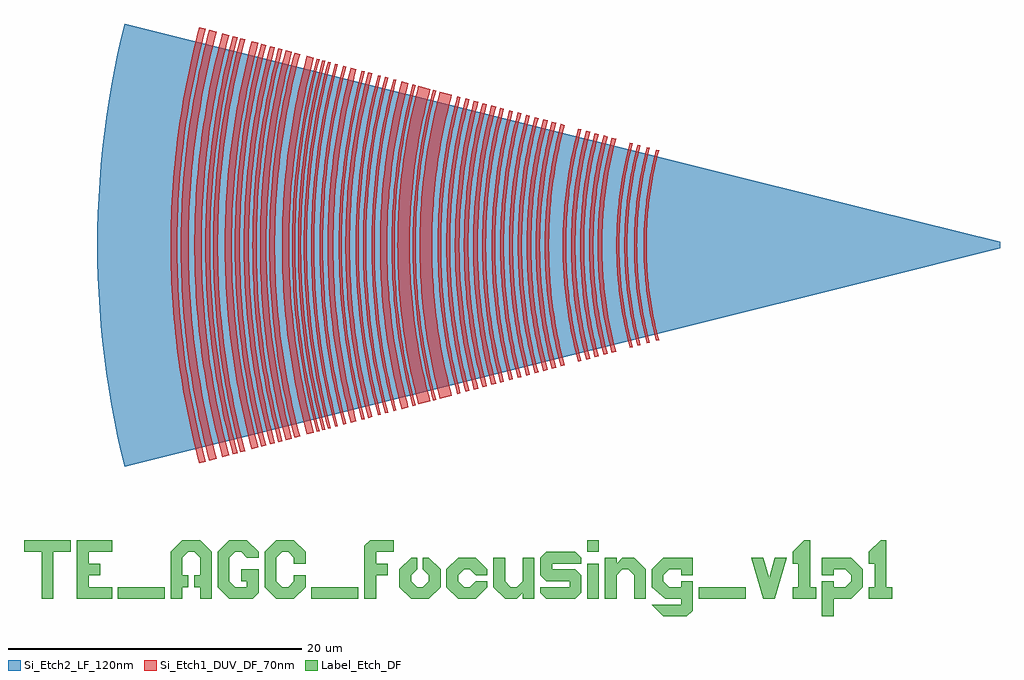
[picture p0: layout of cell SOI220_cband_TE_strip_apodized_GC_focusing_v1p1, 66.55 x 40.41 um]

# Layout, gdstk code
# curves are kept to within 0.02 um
import gdstk
lib = gdstk.Library(unit=1e-6, precision=1e-09)
def R(c, l, rs):  # rectangles x0, y0, x1, y1
    for r in rs: c.add(gdstk.rectangle(r[:2], r[2:], *l))
def P(c, l, *ps):  # polygons
    for p in ps: c.add(gdstk.Polygon(p, *l))
Si_Etch2_LF_120nm = (3, 0)
Si_Etch1_DUV_DF_70nm = (6, 0)
Label_Etch_DF = (100, 0)

text_gdsfactorypcomponen = lib.new_cell('text_gdsfactorypcomponentsptextsptext_TTE_AGC_focusing__27f75d3e')
R(text_gdsfactorypcomponen, Label_Etch_DF, [(6.8,0,10,0.8), (20,0,23.2,0.8), (38.8,0,39.6,2.4), (46.4,0,49.6,0.8), (38.8,3.2,39.6,4)])
P(text_gdsfactorypcomponen, Label_Etch_DF, [(26.8,0),(26,0.8),(26,2),(26.8,2.8),(27.2,2.8),(27.2,2),(26.8,1.6),(26.8,1.2),(27.2,0.8),(27.6,0.8),(28,1.2),(28,1.6),(27.6,2),(27.6,2.8),(28,2.8),(28.8,2),(28.8,0.8),(28,0)],
  [(30,0),(29.2,0.8),(29.2,2),(30,2.8),(31.2,2.8),(32,2),(32,1.6),(31.2,1.6),(30.8,2),(30.4,2),(30,1.6),(30,1.2),(30.4,0.8),(30.8,0.8),(31.2,1.2),(32,1.2),(32,0.8),(31.2,0)],
  [(33.2,0),(32.4,0.8),(32.4,2.8),(33.2,2.8),(33.2,1.2),(33.6,0.8),(34,0.8),(34.4,1.2),(34.4,2.8),(35.2,2.8),(35.2,0),(34.4,0),(34.4,0.4),(34,0)],
  [(40,0),(40,2.8),(40.8,2.8),(40.8,2.4),(41.2,2.8),(42,2.8),(42.8,2),(42.8,0),(42,0),(42,1.6),(41.6,2),(41.2,2),(40.8,1.6),(40.8,0)],
  [(44,-1.2),(43.2,-0.4),(45.2,-0.4),(45.2,0),(44.136,0),(43.2,0.8),(43.2,2),(44,2.8),(46,2.8),(46,1.6),(45.2,1.6),(45.2,2),(44.4,2),(44,1.6),(44,1.2),(44.4,0.8),(45.2,0.8),(45.2,1.2),(46,1.2),(46,-0.8),(45.6,-1.2)],
  [(50.8,0),(50,2.8),(50.8,2.8),(51.2,1.4),(51.6,2.8),(52.4,2.8),(51.6,0)],
  [(54.8,-1.2),(54.8,1.2),(55.6,1.2),(55.6,0.8),(56.4,0.8),(56.8,1.2),(56.8,1.6),(56.4,2),(55.6,2),(55.6,1.6),(54.8,1.6),(54.8,2.8),(56.8,2.8),(57.6,2),(57.6,0.8),(56.8,0),(55.6,0),(55.6,-1.2)],
  [(36,0),(35.6,0.4),(35.6,0.8),(37.6,0.8),(37.6,1.2),(36,1.2),(35.6,1.6),(35.6,2.8),(36,3.2),(38,3.2),(38.4,2.8),(38.4,2.4),(36.4,2.4),(36.4,2),(38,2),(38.4,1.6),(38.4,0.4),(38,0)],
  [(1.6,0),(1.6,3.2),(0.4,3.2),(0.4,4),(3.6,4),(3.6,3.2),(2.4,3.2),(2.4,0)],
  [(4,0),(4,4),(6.4,4),(6.4,3.2),(4.8,3.2),(4.8,2.4),(5.6,2.4),(5.6,1.6),(4.8,1.6),(4.8,0.8),(6.4,0.8),(6.4,0)],
  [(10.396,0),(10.4,3.2),(11.2,4),(12.404,4),(13.2,3.2),(13.2,0),(12.404,0),(12.404,0.8),(12,0.8),(12,1.6),(12.404,1.6),(12.404,2.8),(12,3.2),(11.6,3.2),(11.2,2.8),(11.2,1.6),(11.6,1.6),(11.6,0.8),(11.2,0.8),(11.2,0)],
  [(14.4,0),(13.6,0.8),(13.6,3.2),(14.4,4),(15.6,4),(16.4,3.2),(16.4,2.8),(15.6,2.8),(15.2,3.2),(14.8,3.2),(14.4,2.8),(14.4,1.2),(14.8,0.8),(15.6,0.8),(15.6,1.2),(15.2,1.2),(15.2,2),(16.4,2),(16.4,0.4),(16,0)],
  [(17.6,0),(16.8,0.8),(16.8,3.2),(17.6,4),(18.8,4),(19.6,3.2),(19.6,2.4),(18.8,2.4),(18.8,2.8),(18.4,3.2),(18,3.2),(17.6,2.8),(17.6,1.2),(18,0.8),(18.4,0.8),(18.8,1.2),(18.8,1.6),(19.6,1.6),(19.6,0.8),(18.8,0)],
  [(23.6,0),(23.6,3.6),(24,4),(25.6,4),(25.6,3.2),(24.4,3.2),(24.4,2.4),(25.2,2.4),(25.2,1.6),(24.4,1.6),(24.4,0)],
  [(52.8,0),(52.8,0.8),(53.2,0.8),(53.2,2.4),(52.8,2.4),(52.8,3.2),(53.6,4),(54,4),(54,0.8),(54.4,0.8),(54.4,0)],
  [(58,0),(58,0.8),(58.4,0.8),(58.4,2.4),(58,2.4),(58,3.2),(58.8,4),(59.2,4),(59.2,0.8),(59.6,0.8),(59.6,0)])

soi220_cband_te_strip_ap = lib.new_cell('SOI220_cband_TE_strip_apodized_GC_focusing_v1p1')
P(soi220_cband_te_strip_ap, Si_Etch2_LF_120nm, [(-59.69,-15.107),(-60.398,-11.915),(-60.776,-9.769),(-61.08,-7.61),(-61.393,-4.356),(-61.507,-2.179),(-61.545,0),(-61.507,2.179),(-61.393,4.356),(-61.08,7.61),(-60.776,9.769),(-60.398,11.915),(-59.69,15.107),(0,0.225),(0,-0.225)])
P(soi220_cband_te_strip_ap, Si_Etch1_DUV_DF_70nm, [(-23.439,-6.522),(-23.835,-4.808),(-24.111,-3.071),(-24.251,-1.538),(-24.298,0),(-24.251,1.538),(-24.111,3.071),(-23.835,4.808),(-23.439,6.522),(-23.246,6.47),(-23.639,4.77),(-23.884,3.263),(-24.037,1.744),(-24.098,0),(-24.037,-1.744),(-23.884,-3.263),(-23.639,-4.77),(-23.246,-6.47)],
  [(-24.069,-6.69),(-24.475,-4.933),(-24.729,-3.374),(-24.888,-1.803),(-24.95,0),(-24.888,1.803),(-24.729,3.374),(-24.475,4.933),(-24.069,6.69),(-23.876,6.639),(-24.279,4.895),(-24.531,3.348),(-24.688,1.789),(-24.75,0),(-24.688,-1.789),(-24.531,-3.348),(-24.279,-4.895),(-23.876,-6.639)],
  [(-24.706,-6.86),(-25.076,-5.285),(-25.381,-3.46),(-25.544,-1.849),(-25.608,0),(-25.544,1.849),(-25.381,3.46),(-25.076,5.285),(-24.706,6.86),(-24.512,6.81),(-24.925,5.02),(-25.183,3.434),(-25.344,1.835),(-25.408,0),(-25.344,-1.835),(-25.183,-3.434),(-24.925,-5.02),(-24.512,-6.81)],
  [(-25.234,-7.002),(-25.659,-5.163),(-25.955,-3.297),(-26.106,-1.652),(-26.156,0),(-26.106,1.652),(-25.955,3.297),(-25.659,5.163),(-25.234,7.002),(-25.041,6.951),(-25.463,5.125),(-25.726,3.506),(-25.891,1.874),(-25.956,0),(-25.891,-1.874),(-25.726,-3.506),(-25.463,-5.125),(-25.041,-6.951)],
  [(-26.467,-7.332),(-26.863,-5.649),(-27.189,-3.699),(-27.363,-1.976),(-27.432,0),(-27.363,1.976),(-27.189,3.699),(-26.863,5.649),(-26.467,7.332),(-26.173,7.255),(-26.613,5.348),(-26.888,3.659),(-27.06,1.955),(-27.128,0),(-27.06,-1.955),(-26.888,-3.659),(-26.613,-5.348),(-26.173,-7.255)],
  [(-27.027,-7.481),(-27.48,-5.517),(-27.796,-3.524),(-27.957,-1.766),(-28.011,0),(-27.957,1.766),(-27.796,3.524),(-27.48,5.517),(-27.027,7.481),(-26.749,7.409),(-27.198,5.462),(-27.479,3.736),(-27.671,1.748),(-27.724,0),(-27.671,-1.748),(-27.479,-3.736),(-27.198,-5.462),(-26.749,-7.409)],
  [(-27.616,-7.64),(-28.03,-5.886),(-28.37,-3.854),(-28.567,-1.802),(-28.622,0),(-28.567,1.802),(-28.37,3.854),(-28.03,5.886),(-27.616,7.64),(-27.362,7.573),(-27.772,5.834),(-28.109,3.819),(-28.288,2.041),(-28.359,0),(-28.288,-2.041),(-28.109,-3.819),(-27.772,-5.834),(-27.362,-7.573)],
  [(-28.216,-7.801),(-28.689,-5.751),(-28.985,-3.935),(-29.168,-2.102),(-29.242,0),(-29.168,2.102),(-28.985,3.935),(-28.689,5.751),(-28.216,7.801),(-27.934,7.727),(-28.403,5.696),(-28.696,3.897),(-28.878,2.082),(-28.951,0),(-28.878,-2.082),(-28.696,-3.897),(-28.403,-5.696),(-27.934,-7.727)],
  [(-28.771,-7.95),(-29.254,-5.862),(-29.555,-4.01),(-29.761,-1.875),(-29.818,0),(-29.761,1.875),(-29.555,4.01),(-29.254,5.862),(-28.771,7.95),(-28.541,7.889),(-29.02,5.816),(-29.319,3.979),(-29.506,2.126),(-29.58,0),(-29.506,-2.126),(-29.319,-3.979),(-29.02,-5.816),(-28.541,-7.889)],
  [(-29.947,-8.265),(-30.217,-7.185),(-30.448,-6.094),(-30.762,-4.169),(-30.957,-2.228),(-31.016,-1.115),(-31.035,0),(-31.016,1.115),(-30.957,2.228),(-30.762,4.169),(-30.448,6.094),(-30.217,7.185),(-29.947,8.265),(-29.675,8.193),(-29.943,7.121),(-30.172,6.04),(-30.483,4.132),(-30.677,2.208),(-30.754,0),(-30.677,-2.208),(-30.483,-4.132),(-30.172,-6.04),(-29.943,-7.121),(-29.675,-8.193)],
  [(-30.546,-8.424),(-31.056,-6.212),(-31.376,-4.249),(-31.593,-1.988),(-31.654,0),(-31.593,1.988),(-31.376,4.249),(-31.056,6.212),(-30.546,8.424),(-30.266,8.351),(-30.772,6.157),(-31.089,4.212),(-31.305,1.97),(-31.365,0),(-31.305,-1.97),(-31.089,-4.212),(-30.772,-6.157),(-30.266,-8.351)],
  [(-31.137,-8.583),(-31.601,-6.613),(-31.812,-5.474),(-31.983,-4.329),(-32.115,-3.179),(-32.205,-2.025),(-32.267,0),(-32.205,2.025),(-32.115,3.179),(-31.983,4.329),(-31.812,5.474),(-31.601,6.613),(-31.137,8.583),(-30.84,8.505),(-31.3,6.552),(-31.679,4.289),(-31.809,3.15),(-31.899,2.006),(-31.96,0),(-31.899,-2.006),(-31.809,-3.15),(-31.679,-4.289),(-31.3,-6.552),(-30.84,-8.505)],
  [(-31.719,-8.74),(-32.192,-6.732),(-32.407,-5.575),(-32.581,-4.408),(-32.715,-3.237),(-32.807,-2.062),(-32.87,0),(-32.807,2.062),(-32.715,3.237),(-32.581,4.408),(-32.407,5.575),(-32.192,6.732),(-31.719,8.74),(-31.459,8.671),(-31.742,7.537),(-31.985,6.393),(-32.314,4.373),(-32.447,3.211),(-32.539,2.045),(-32.601,0),(-32.539,-2.045),(-32.447,-3.211),(-32.314,-4.373),(-31.985,-6.393),(-31.742,-7.537),(-31.459,-8.671)],
  [(-32.295,-8.893),(-32.775,-6.851),(-32.994,-5.672),(-33.171,-4.486),(-33.307,-3.294),(-33.401,-2.098),(-33.465,0),(-33.401,2.098),(-33.307,3.294),(-33.171,4.486),(-32.994,5.672),(-32.775,6.851),(-32.295,8.893),(-32.05,8.829),(-32.527,6.801),(-32.744,5.63),(-32.92,4.453),(-33.129,2.38),(-33.191,1.191),(-33.212,0),(-33.191,-1.191),(-33.129,-2.38),(-32.92,-4.453),(-32.744,-5.63),(-32.527,-6.801),(-32.05,-8.829)],
  [(-32.881,-9.051),(-33.176,-7.868),(-33.43,-6.673),(-33.773,-4.565),(-33.911,-3.352),(-34.007,-2.135),(-34.072,0),(-34.007,2.135),(-33.911,3.352),(-33.773,4.565),(-33.43,6.673),(-33.176,7.868),(-32.881,9.051),(-32.645,8.989),(-33.131,6.924),(-33.352,5.732),(-33.531,4.533),(-33.668,3.329),(-33.763,2.12),(-33.828,0),(-33.763,-2.12),(-33.668,-3.329),(-33.531,-4.533),(-33.352,-5.732),(-33.131,-6.924),(-32.645,-8.989)],
  [(-33.445,-9.203),(-33.746,-7.999),(-34.004,-6.785),(-34.353,-4.641),(-34.493,-3.408),(-34.591,-2.171),(-34.657,0),(-34.591,2.171),(-34.493,3.408),(-34.353,4.641),(-34.004,6.785),(-33.746,7.999),(-33.445,9.203),(-33.216,9.142),(-33.711,7.042),(-33.936,5.83),(-34.118,4.61),(-34.334,2.464),(-34.398,1.233),(-34.42,0),(-34.398,-1.233),(-34.334,-2.464),(-34.118,-4.61),(-33.936,-5.83),(-33.711,-7.042),(-33.216,-9.142)],
  [(-34.07,-9.37),(-34.576,-7.218),(-34.807,-5.975),(-34.993,-4.725),(-35.136,-3.47),(-35.236,-2.211),(-35.303,0),(-35.236,2.211),(-35.136,3.47),(-34.993,4.725),(-34.807,5.975),(-34.576,7.218),(-34.07,9.37),(-33.823,9.305),(-34.326,7.167),(-34.555,5.933),(-34.74,4.692),(-34.882,3.446),(-34.981,2.195),(-35.048,0),(-34.981,-2.195),(-34.882,-3.446),(-34.74,-4.692),(-34.555,-5.933),(-34.326,-7.167),(-33.823,-9.305)],
  [(-34.672,-9.53),(-35.188,-7.342),(-35.421,-6.079),(-35.612,-4.807),(-35.837,-2.57),(-35.905,-1.285),(-35.927,0),(-35.905,1.285),(-35.837,2.57),(-35.612,4.807),(-35.421,6.079),(-35.188,7.342),(-34.672,9.53),(-34.36,9.448),(-34.871,7.278),(-35.103,6.025),(-35.292,4.765),(-35.436,3.499),(-35.536,2.229),(-35.604,0),(-35.536,-2.229),(-35.436,-3.499),(-35.292,-4.765),(-35.103,-6.025),(-34.871,-7.278),(-34.36,-9.448)],
  [(-35.273,-9.692),(-35.797,-7.467),(-36.036,-6.182),(-36.228,-4.888),(-36.458,-2.612),(-36.526,-1.307),(-36.549,0),(-36.526,1.307),(-36.458,2.612),(-36.228,4.888),(-36.036,6.182),(-35.797,7.467),(-35.273,9.692),(-34.982,9.615),(-35.502,7.407),(-35.739,6.132),(-35.93,4.849),(-36.158,2.591),(-36.225,1.297),(-36.248,0),(-36.225,-1.297),(-36.158,-2.591),(-35.93,-4.849),(-35.739,-6.132),(-35.502,-7.407),(-34.982,-9.615)],
  [(-35.864,-9.85),(-36.397,-7.588),(-36.639,-6.283),(-36.835,-4.968),(-36.986,-3.648),(-37.09,-2.324),(-37.161,0),(-37.09,2.324),(-36.986,3.648),(-36.835,4.968),(-36.639,6.283),(-36.397,7.588),(-35.864,9.85),(-35.567,9.772),(-36.096,7.527),(-36.336,6.232),(-36.531,4.928),(-36.68,3.619),(-36.784,2.305),(-36.854,0),(-36.784,-2.305),(-36.68,-3.619),(-36.531,-4.928),(-36.336,-6.232),(-36.096,-7.527),(-35.567,-9.772)],
  [(-36.435,-10.003),(-36.76,-8.695),(-37.041,-7.375),(-37.421,-5.046),(-37.573,-3.704),(-37.679,-2.36),(-37.751,0),(-37.679,2.36),(-37.573,3.704),(-37.421,5.046),(-37.041,7.375),(-36.76,8.695),(-36.435,10.003),(-36.187,9.938),(-36.511,8.637),(-36.79,7.326),(-37.167,5.012),(-37.318,3.68),(-37.423,2.344),(-37.495,0),(-37.423,-2.344),(-37.318,-3.68),(-37.167,-5.012),(-36.79,-7.326),(-36.511,-8.637),(-36.187,-9.938)],
  [(-37.002,-10.155),(-37.332,-8.827),(-37.617,-7.487),(-38.002,-5.121),(-38.157,-3.761),(-38.265,-2.396),(-38.338,0),(-38.265,2.396),(-38.157,3.761),(-38.002,5.121),(-37.617,7.487),(-37.332,8.827),(-37.002,10.155),(-36.784,10.098),(-37.113,8.776),(-37.46,7.11),(-37.684,5.767),(-37.862,4.417),(-38.06,2.042),(-38.113,0),(-38.06,-2.042),(-37.862,-4.417),(-37.684,-5.767),(-37.46,-7.11),(-37.113,-8.776),(-36.784,-10.098)],
  [(-38.19,-10.471),(-38.756,-8.068),(-39.013,-6.68),(-39.222,-5.284),(-39.382,-3.879),(-39.492,-2.472),(-39.568,0),(-39.492,2.472),(-39.382,3.879),(-39.222,5.284),(-39.013,6.68),(-38.756,8.068),(-38.19,10.471),(-37.37,10.255),(-37.925,7.899),(-38.285,5.857),(-38.538,3.798),(-38.696,1.383),(-38.72,0),(-38.696,-1.383),(-38.598,-3.109),(-38.465,-4.485),(-38.285,-5.857),(-38.057,-7.221),(-37.781,-8.576),(-37.37,-10.255)],
  [(-38.646,-10.596),(-39.219,-8.163),(-39.479,-6.758),(-39.69,-5.344),(-39.942,-2.856),(-40.016,-1.429),(-40.041,0),(-40.016,1.429),(-39.942,2.856),(-39.69,5.344),(-39.479,6.758),(-39.219,8.163),(-38.646,10.596),(-38.453,10.545),(-38.797,9.165),(-39.159,7.425),(-39.393,6.022),(-39.579,4.612),(-39.765,2.487),(-39.841,0),(-39.765,-2.487),(-39.579,-4.612),(-39.393,-6.022),(-39.159,-7.425),(-38.797,-9.165),(-38.453,-10.545)],
  [(-39.651,-10.861),(-40.004,-9.444),(-40.309,-8.01),(-40.721,-5.479),(-40.978,-2.928),(-41.054,-1.465),(-41.08,0),(-41.054,1.465),(-40.978,2.928),(-40.721,5.479),(-40.309,8.01),(-40.004,9.444),(-39.651,10.861),(-38.839,10.649),(-39.415,8.203),(-39.789,6.081),(-40.052,3.943),(-40.216,1.436),(-40.241,0),(-40.202,-1.795),(-40.114,-3.228),(-39.977,-4.658),(-39.789,-6.081),(-39.552,-7.498),(-39.187,-9.255),(-38.839,-10.649)],
  [(-40.037,-10.969),(-40.629,-8.45),(-40.959,-6.631),(-41.117,-5.532),(-41.377,-2.956),(-41.454,-1.479),(-41.48,0),(-41.454,1.479),(-41.377,2.956),(-41.117,5.532),(-40.959,6.631),(-40.629,8.45),(-40.037,10.969),(-39.843,10.918),(-40.199,9.489),(-40.574,7.687),(-40.817,6.235),(-41.009,4.775),(-41.222,2.208),(-41.28,0),(-41.222,-2.208),(-41.009,-4.775),(-40.817,-6.235),(-40.574,-7.687),(-40.199,-9.489),(-39.843,-10.918)],
  [(-40.801,-11.172),(-41.166,-9.712),(-41.479,-8.237),(-41.903,-5.635),(-42.167,-3.012),(-42.246,-1.507),(-42.272,0),(-42.246,1.507),(-42.167,3.012),(-41.903,5.635),(-41.479,8.237),(-41.166,9.712),(-40.801,11.172),(-40.332,11.049),(-40.693,9.603),(-41.003,8.145),(-41.422,5.572),(-41.683,2.978),(-41.761,1.49),(-41.787,0),(-41.761,-1.49),(-41.683,-2.978),(-41.422,-5.572),(-41.003,-8.145),(-40.693,-9.603),(-40.332,-11.049)],
  [(-41.351,-11.321),(-41.634,-10.212),(-41.964,-8.721),(-42.242,-7.22),(-42.467,-5.71),(-42.641,-4.193),(-42.736,-3.051),(-42.815,-1.527),(-42.842,0),(-42.815,1.527),(-42.736,3.051),(-42.641,4.193),(-42.467,5.71),(-42.242,7.22),(-41.964,8.721),(-41.634,10.212),(-41.351,11.321),(-41.158,11.27),(-41.526,9.795),(-41.842,8.309),(-42.164,6.436),(-42.362,4.929),(-42.561,2.658),(-42.642,0),(-42.561,-2.658),(-42.362,-4.929),(-42.164,-6.436),(-41.842,-8.309),(-41.526,-9.795),(-41.158,-11.27)],
  [(-41.914,-11.472),(-42.289,-9.971),(-42.535,-8.838),(-42.817,-7.316),(-43.045,-5.786),(-43.182,-4.634),(-43.318,-3.092),(-43.398,-1.547),(-43.425,0),(-43.398,1.547),(-43.318,3.092),(-43.182,4.634),(-43.045,5.786),(-42.817,7.316),(-42.535,8.838),(-42.289,9.971),(-41.914,11.472),(-41.721,11.421),(-42.179,9.551),(-42.486,8.042),(-42.74,6.522),(-42.941,4.995),(-43.057,3.846),(-43.165,2.309),(-43.225,0),(-43.165,-2.309),(-43.057,-3.846),(-42.941,-4.995),(-42.74,-6.522),(-42.486,-8.042),(-42.179,-9.551),(-41.721,-11.421)],
  [(-42.406,-11.604),(-42.785,-10.086),(-43.034,-8.939),(-43.319,-7.4),(-43.55,-5.852),(-43.728,-4.297),(-43.851,-2.737),(-43.919,-1.173),(-43.934,0),(-43.919,1.173),(-43.851,2.737),(-43.728,4.297),(-43.55,5.852),(-43.319,7.4),(-43.034,8.939),(-42.785,10.086),(-42.406,11.604),(-42.213,11.553),(-42.59,10.041),(-42.987,8.134),(-43.244,6.598),(-43.447,5.053),(-43.651,2.725),(-43.719,1.168),(-43.734,0),(-43.719,-1.168),(-43.651,-2.725),(-43.447,-5.053),(-43.244,-6.598),(-42.987,-8.134),(-42.59,-10.041),(-42.213,-11.553)],
  [(-43.079,-11.783),(-43.463,-10.243),(-43.794,-8.688),(-44.006,-7.515),(-44.24,-5.943),(-44.421,-4.365),(-44.545,-2.78),(-44.602,-1.589),(-44.63,0),(-44.602,1.589),(-44.545,2.78),(-44.421,4.365),(-44.24,5.943),(-44.006,7.515),(-43.794,8.688),(-43.463,10.243),(-43.079,11.783),(-42.792,11.708),(-43.174,10.176),(-43.502,8.631),(-43.713,7.466),(-43.946,5.904),(-44.125,4.336),(-44.249,2.762),(-44.305,1.579),(-44.333,0),(-44.305,-1.579),(-44.249,-2.762),(-44.125,-4.336),(-43.946,-5.904),(-43.713,-7.466),(-43.502,-8.631),(-43.174,-10.176),(-42.792,-11.708)],
  [(-43.514,-11.901),(-43.903,-10.344),(-44.158,-9.168),(-44.45,-7.589),(-44.687,-6.002),(-44.869,-4.407),(-44.996,-2.807),(-45.053,-1.605),(-45.081,0),(-45.053,1.605),(-44.996,2.807),(-44.869,4.407),(-44.687,6.002),(-44.45,7.589),(-44.158,9.168),(-43.903,10.344),(-43.514,11.901),(-43.321,11.85),(-43.708,10.299),(-44.04,8.736),(-44.378,6.767),(-44.587,5.183),(-44.796,2.795),(-44.853,1.598),(-44.881,0),(-44.853,-1.598),(-44.796,-2.795),(-44.587,-5.183),(-44.378,-6.767),(-44.04,-8.736),(-43.708,-10.299),(-43.321,-11.85)],
  [(-44.252,-12.097),(-44.647,-10.516),(-44.986,-8.921),(-45.204,-7.715),(-45.445,-6.101),(-45.63,-4.48),(-45.758,-2.854),(-45.817,-1.631),(-45.845,0),(-45.817,1.631),(-45.758,2.854),(-45.63,4.48),(-45.445,6.101),(-45.204,7.715),(-44.986,8.921),(-44.647,10.516),(-44.252,12.097),(-43.876,11.998),(-44.268,10.428),(-44.604,8.846),(-44.885,7.252),(-45.059,6.051),(-45.243,4.443),(-45.37,2.83),(-45.428,1.618),(-45.456,0),(-45.428,-1.618),(-45.37,-2.83),(-45.243,-4.443),(-45.059,-6.051),(-44.885,-7.252),(-44.604,-8.846),(-44.268,-10.428),(-43.876,-11.998)],
  [(-44.771,-12.237),(-45.171,-10.637),(-45.433,-9.427),(-45.733,-7.804),(-45.977,-6.172),(-46.164,-4.533),(-46.294,-2.887),(-46.366,-1.238),(-46.382,0),(-46.366,1.238),(-46.294,2.887),(-46.164,4.533),(-45.977,6.172),(-45.733,7.804),(-45.433,9.427),(-45.171,10.637),(-44.771,12.237),(-44.565,12.183),(-44.963,10.589),(-45.381,8.578),(-45.652,6.958),(-45.866,5.329),(-46.081,2.874),(-46.153,1.232),(-46.169,0),(-46.153,-1.232),(-46.081,-2.874),(-45.866,-5.329),(-45.652,-6.958),(-45.381,-8.578),(-44.963,-10.589),(-44.565,-12.183)],
  [(-45.335,-12.388),(-45.739,-10.768),(-46.005,-9.543),(-46.309,-7.9),(-46.556,-6.248),(-46.704,-5.004),(-46.85,-3.339),(-46.937,-1.671),(-46.966,0),(-46.937,1.671),(-46.85,3.339),(-46.704,5.004),(-46.556,6.248),(-46.309,7.9),(-46.005,9.543),(-45.739,10.768),(-45.335,12.388),(-45.141,12.337),(-45.635,10.317),(-45.967,8.687),(-46.241,7.046),(-46.459,5.396),(-46.584,4.154),(-46.7,2.495),(-46.765,0),(-46.7,-2.495),(-46.584,-4.154),(-46.459,-5.396),(-46.241,-7.046),(-45.967,-8.687),(-45.635,-10.317),(-45.141,-12.337)],
  [(-45.814,-12.517),(-46.223,-10.88),(-46.491,-9.642),(-46.798,-7.982),(-47.048,-6.313),(-47.197,-5.056),(-47.345,-3.374),(-47.433,-1.688),(-47.462,0),(-47.433,1.688),(-47.345,3.374),(-47.197,5.056),(-47.048,6.313),(-46.798,7.982),(-46.491,9.642),(-46.223,10.88),(-45.814,12.517),(-45.621,12.466),(-46.028,10.835),(-46.377,9.19),(-46.733,7.119),(-46.952,5.452),(-47.114,3.779),(-47.196,2.521),(-47.262,0),(-47.196,-2.521),(-47.114,-3.779),(-46.952,-5.452),(-46.733,-7.119),(-46.377,-9.19),(-46.028,-10.835),(-45.621,-12.466)],
  [(-46.2,-12.62),(-46.612,-10.97),(-46.883,-9.722),(-47.193,-8.048),(-47.445,-6.365),(-47.595,-5.097),(-47.744,-3.402),(-47.832,-1.702),(-47.862,0),(-47.832,1.702),(-47.744,3.402),(-47.595,5.097),(-47.445,6.365),(-47.193,8.048),(-46.883,9.722),(-46.612,10.97),(-46.2,12.62),(-46.007,12.569),(-46.417,10.925),(-46.77,9.266),(-47.129,7.178),(-47.35,5.498),(-47.571,2.965),(-47.632,1.695),(-47.662,0),(-47.632,-1.695),(-47.571,-2.965),(-47.35,-5.498),(-47.129,-7.178),(-46.77,-9.266),(-46.417,-10.925),(-46.007,-12.569)],
  [(-46.587,-12.724),(-47.002,-11.06),(-47.275,-9.802),(-47.587,-8.114),(-47.841,-6.417),(-47.993,-5.139),(-48.143,-3.43),(-48.232,-1.716),(-48.262,0),(-48.232,1.716),(-48.143,3.43),(-47.993,5.139),(-47.841,6.417),(-47.587,8.114),(-47.275,9.802),(-47.002,11.06),(-46.587,12.724),(-46.394,12.673),(-46.807,11.015),(-47.242,8.923),(-47.524,7.237),(-47.747,5.543),(-47.971,2.989),(-48.032,1.709),(-48.062,0),(-48.045,-1.282),(-47.971,-2.989),(-47.747,-5.543),(-47.524,-7.237),(-47.242,-8.923),(-46.807,-11.015),(-46.394,-12.673)],
  [(-47.256,-12.902),(-47.676,-11.215),(-48.038,-9.513),(-48.34,-7.799),(-48.528,-6.507),(-48.725,-4.778),(-48.833,-3.477),(-48.924,-1.74),(-48.954,0),(-48.924,1.74),(-48.833,3.477),(-48.725,4.778),(-48.528,6.507),(-48.34,7.799),(-48.038,9.513),(-47.676,11.215),(-47.256,12.902),(-46.78,12.776),(-47.197,11.104),(-47.471,9.842),(-47.785,8.147),(-48.04,6.443),(-48.192,5.16),(-48.342,3.443),(-48.432,1.723),(-48.462,0),(-48.432,-1.723),(-48.342,-3.443),(-48.192,-5.16),(-48.04,-6.443),(-47.785,-8.147),(-47.471,-9.842),(-47.197,-11.104),(-46.78,-12.776)],
  [(-48.094,-13.127),(-48.522,-11.41),(-48.89,-9.679),(-49.127,-8.372),(-49.388,-6.621),(-49.588,-4.861),(-49.727,-3.097),(-49.805,-1.328),(-49.822,0),(-49.805,1.328),(-49.727,3.097),(-49.588,4.861),(-49.388,6.621),(-49.127,8.372),(-48.89,9.679),(-48.522,11.41),(-48.094,13.127),(-47.719,13.028),(-48.144,11.323),(-48.509,9.605),(-48.744,8.308),(-49.003,6.57),(-49.202,4.824),(-49.34,3.073),(-49.417,1.318),(-49.434,0),(-49.417,-1.318),(-49.34,-3.073),(-49.202,-4.824),(-49.003,-6.57),(-48.744,-8.308),(-48.509,-9.605),(-48.144,-11.323),(-47.719,-13.028)],
  [(-48.703,-13.289),(-49.136,-11.552),(-49.421,-10.239),(-49.748,-8.476),(-50.012,-6.703),(-50.171,-5.368),(-50.327,-3.582),(-50.421,-1.792),(-50.452,0),(-50.421,1.792),(-50.327,3.582),(-50.171,5.368),(-50.012,6.703),(-49.748,8.476),(-49.421,10.239),(-49.136,11.552),(-48.703,13.289),(-48.287,13.18),(-48.717,11.455),(-49,10.153),(-49.324,8.405),(-49.586,6.647),(-49.788,4.881),(-49.898,3.552),(-49.991,1.777),(-50.022,0),(-49.991,-1.777),(-49.898,-3.552),(-49.788,-4.881),(-49.586,-6.647),(-49.324,-8.405),(-49,-10.153),(-48.717,-11.455),(-48.287,-13.18)],
  [(-49.199,-13.424),(-49.637,-11.667),(-50.013,-9.897),(-50.328,-8.114),(-50.523,-6.77),(-50.727,-4.972),(-50.869,-3.167),(-50.935,-1.81),(-50.966,0),(-50.935,1.81),(-50.869,3.167),(-50.727,4.972),(-50.523,6.77),(-50.328,8.114),(-50.013,9.897),(-49.637,11.667),(-49.199,13.424),(-48.931,13.353),(-49.367,11.605),(-49.825,9.402),(-50.122,7.626),(-50.357,5.84),(-50.593,3.15),(-50.658,1.8),(-50.689,0),(-50.658,-1.8),(-50.593,-3.15),(-50.357,-5.84),(-50.122,-7.626),(-49.825,-9.402),(-49.367,-11.605),(-48.931,-13.353)],
  [(-49.768,-13.576),(-50.106,-12.245),(-50.502,-10.458),(-50.835,-8.658),(-51.106,-6.847),(-51.313,-5.028),(-51.457,-3.203),(-51.523,-1.831),(-51.555,0),(-51.523,1.831),(-51.457,3.203),(-51.313,5.028),(-51.106,6.847),(-50.835,8.658),(-50.502,10.458),(-50.106,12.245),(-49.768,13.576),(-49.439,13.489),(-49.775,12.166),(-50.169,10.39),(-50.5,8.602),(-50.769,6.803),(-50.975,4.995),(-51.118,3.182),(-51.197,1.364),(-51.215,0),(-51.197,-1.364),(-51.118,-3.182),(-50.975,-4.995),(-50.769,-6.803),(-50.5,-8.602),(-50.169,-10.39),(-49.775,-12.166),(-49.439,-13.489)],
  [(-50.361,-13.735),(-50.808,-11.939),(-51.194,-10.126),(-51.516,-8.302),(-51.715,-6.927),(-51.878,-5.547),(-52.04,-3.703),(-52.137,-1.852),(-52.169,0),(-52.137,1.852),(-52.04,3.703),(-51.878,5.547),(-51.715,6.927),(-51.516,8.302),(-51.194,10.126),(-50.808,11.939),(-50.361,13.735),(-50.035,13.649),(-50.48,11.863),(-50.863,10.062),(-51.109,8.704),(-51.381,6.883),(-51.543,5.512),(-51.704,3.679),(-51.8,1.84),(-51.832,0),(-51.8,-1.84),(-51.704,-3.679),(-51.543,-5.512),(-51.381,-6.883),(-51.109,-8.704),(-50.863,-10.062),(-50.48,-11.863),(-50.035,-13.649)],
  [(-51.018,-13.911),(-51.365,-12.548),(-51.771,-10.716),(-52.113,-8.871),(-52.39,-7.017),(-52.603,-5.152),(-52.75,-3.282),(-52.818,-1.877),(-52.85,0),(-52.818,1.877),(-52.75,3.282),(-52.603,5.152),(-52.39,7.017),(-52.113,8.871),(-51.771,10.716),(-51.365,12.548),(-51.018,13.911),(-50.565,13.791),(-51.015,11.986),(-51.402,10.167),(-51.725,8.335),(-51.925,6.955),(-52.136,5.107),(-52.282,3.253),(-52.349,1.86),(-52.381,0),(-52.349,-1.86),(-52.282,-3.253),(-52.136,-5.107),(-51.925,-6.955),(-51.725,-8.335),(-51.402,-10.167),(-51.015,-11.986),(-50.565,-13.791)],
  [(-51.79,-14.118),(-52.251,-12.271),(-52.647,-10.409),(-52.901,-9.004),(-53.182,-7.121),(-53.35,-5.702),(-53.516,-3.806),(-53.616,-1.903),(-53.649,0),(-53.616,1.903),(-53.516,3.806),(-53.35,5.702),(-53.182,7.121),(-52.901,9.004),(-52.647,10.409),(-52.251,12.271),(-51.79,14.118),(-51.476,14.035),(-51.934,12.198),(-52.328,10.347),(-52.58,8.95),(-52.86,7.078),(-53.027,5.668),(-53.192,3.783),(-53.291,1.892),(-53.324,0),(-53.291,-1.892),(-53.192,-3.783),(-53.027,-5.668),(-52.86,-7.078),(-52.656,-8.483),(-52.328,-10.347),(-51.934,-12.198),(-51.476,-14.035)],
  [(-52.305,-14.256),(-52.77,-12.391),(-53.17,-10.51),(-53.504,-8.617),(-53.711,-7.19),(-53.88,-5.758),(-54.048,-3.842),(-54.149,-1.923),(-54.182,0),(-54.149,1.923),(-54.048,3.842),(-53.88,5.758),(-53.711,7.19),(-53.504,8.617),(-53.17,10.51),(-52.77,12.391),(-52.305,14.256),(-51.983,14.171),(-52.446,12.316),(-52.75,10.916),(-53.098,9.037),(-53.381,7.146),(-53.597,5.248),(-53.716,3.819),(-53.816,1.911),(-53.849,0),(-53.816,-1.911),(-53.716,-3.819),(-53.597,-5.248),(-53.381,-7.146),(-53.098,-9.037),(-52.75,-10.916),(-52.446,-12.316),(-51.983,-14.171)],
  [(-53.022,-14.447),(-53.494,-12.558),(-53.803,-11.13),(-54.158,-9.214),(-54.447,-7.287),(-54.667,-5.35),(-54.82,-3.408),(-54.905,-1.462),(-54.924,0),(-54.905,1.462),(-54.82,3.408),(-54.667,5.35),(-54.447,7.287),(-54.158,9.214),(-53.803,11.13),(-53.494,12.558),(-53.022,14.447),(-52.552,14.323),(-53.02,12.449),(-53.327,11.033),(-53.679,9.134),(-53.965,7.223),(-54.183,5.304),(-54.335,3.378),(-54.419,1.449),(-54.438,0),(-54.419,-1.449),(-54.335,-3.378),(-54.183,-5.304),(-53.965,-7.223),(-53.679,-9.134),(-53.327,-11.033),(-53.02,-12.449),(-52.552,-14.323)],
  [(-53.921,-14.687),(-54.4,-12.767),(-54.812,-10.83),(-55.077,-9.368),(-55.369,-7.408),(-55.594,-5.44),(-55.717,-3.959),(-55.821,-1.981),(-55.855,0),(-55.821,1.981),(-55.717,3.959),(-55.594,5.44),(-55.369,7.408),(-55.077,9.368),(-54.812,10.83),(-54.4,12.767),(-53.921,14.687),(-53.4,14.55),(-53.875,12.646),(-54.283,10.727),(-54.624,8.794),(-54.835,7.338),(-55.008,5.876),(-55.179,3.922),(-55.282,1.962),(-55.316,0),(-55.282,-1.962),(-55.179,-3.922),(-55.008,-5.876),(-54.835,-7.338),(-54.624,-8.794),(-54.283,-10.727),(-53.875,-12.646),(-53.4,-14.55)],
  [(-54.588,-14.866),(-55.072,-12.923),(-55.49,-10.961),(-55.757,-9.482),(-56.053,-7.498),(-56.281,-5.506),(-56.438,-3.507),(-56.51,-2.004),(-56.545,0),(-56.51,2.004),(-56.438,3.507),(-56.281,5.506),(-56.053,7.498),(-55.757,9.482),(-55.49,10.961),(-55.072,12.923),(-54.588,14.866),(-54.151,14.751),(-54.518,13.305),(-54.949,11.363),(-55.311,9.407),(-55.605,7.439),(-55.831,5.463),(-55.987,3.479),(-56.058,1.989),(-56.093,0),(-56.058,-1.989),(-55.987,-3.479),(-55.831,-5.463),(-55.605,-7.439),(-55.311,-9.407),(-54.949,-11.363),(-54.632,-12.821),(-54.151,-14.751)])
soi220_cband_te_strip_ap.add(gdstk.Reference(text_gdsfactorypcomponen, (-66.945,-24.107)))

lib.write_gds('SOI220_cband_TE_strip_apodized_GC_focusing_v1p1.gds')
